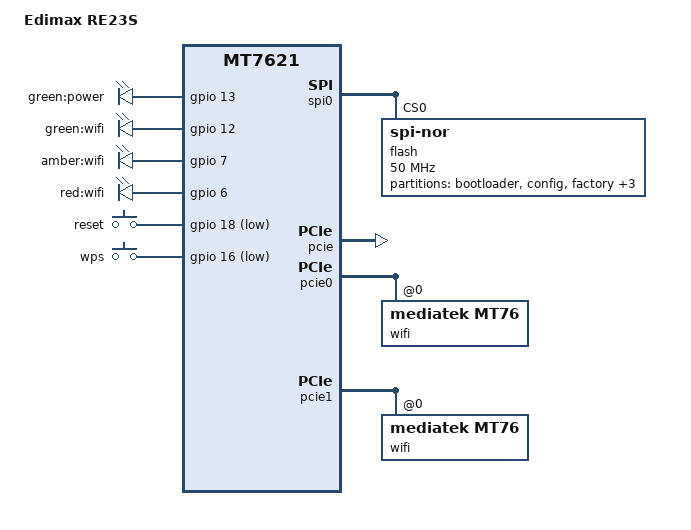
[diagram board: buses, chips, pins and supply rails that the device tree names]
// SPDX-License-Identifier: GPL-2.0-or-later OR MIT

#include "mt7621.dtsi"

#include <dt-bindings/gpio/gpio.h>
#include <dt-bindings/input/input.h>
#include <dt-bindings/mtd/partitions/uimage.h>

/ {
	compatible = "edimax,re23s", "mediatek,mt7621-soc";
	model = "Edimax RE23S";

	aliases {
		led-boot = &led_power;
		led-failsafe = &led_wifi_red;
		led-running = &led_power;
		led-upgrade = &led_power;
		label-mac-device = &gmac0;
	};

	leds {
		compatible = "gpio-leds";

		led_power: power {
			label = "green:power";
			gpios = <&gpio 13 GPIO_ACTIVE_HIGH>;
		};

		wifi_green {
			label = "green:wifi";
			gpios = <&gpio 12 GPIO_ACTIVE_HIGH>;
		};

		wifi_amber {
			label = "amber:wifi";
			gpios = <&gpio 7 GPIO_ACTIVE_HIGH>;
		};

		led_wifi_red: wifi_red {
			label = "red:wifi";
			gpios = <&gpio 6 GPIO_ACTIVE_HIGH>;
		};
	};

	keys {
		compatible = "gpio-keys";

		reset {
			label = "reset";
			gpios = <&gpio 18 GPIO_ACTIVE_LOW>;
			linux,code = <KEY_RESTART>;
		};

		wps {
			label = "wps";
			gpios = <&gpio 16 GPIO_ACTIVE_LOW>;
			linux,code = <KEY_WPS_BUTTON>;
		};
	};
};

&spi0 {
	status = "okay";

	flash@0 {
		compatible = "jedec,spi-nor";
		reg = <0>;
		spi-max-frequency = <50000000>;
		m25p,fast-read;

		partitions {
			compatible = "fixed-partitions";
			#address-cells = <1>;
			#size-cells = <1>;

			partition@0 {
				label = "bootloader";
				reg = <0x0 0x30000>;
				read-only;
			};

			partition@30000 {
				label = "config";
				reg = <0x30000 0x10000>;
				read-only;
			};

			factory: partition@40000 {
				label = "factory";
				reg = <0x40000 0x10000>;
				read-only;
			};

			partition@50000 {
				label = "cimage";
				reg = <0x50000 0x20000>;
				read-only;
			};

			partition@70000 {
				compatible = "openwrt,uimage", "denx,uimage";
				openwrt,offset = <FW_EDIMAX_OFFSET>;
				openwrt,partition-magic = <FW_MAGIC_EDIMAX>;
				label = "firmware";
				reg = <0x70000 0xf50000>;
			};

			partition@fc0000 {
				label = "freespace";
				reg = <0xfc0000 0x40000>;
				read-only;
			};
		};
	};
};

&pcie {
	status = "okay";
};

&pcie0 {
	wifi@0,0 {
		compatible = "mediatek,mt76";
		reg = <0x0000 0 0 0 0>;
		mediatek,mtd-eeprom = <&factory 0x0>;
		ieee80211-freq-limit = <2400000 2500000>;
	};
};

&pcie1 {
	wifi@0,0 {
		compatible = "mediatek,mt76";
		reg = <0x0000 0 0 0 0>;
		mediatek,mtd-eeprom = <&factory 0x8000>;
		ieee80211-freq-limit = <5000000 6000000>;
	};
};

&gmac0 {
	mtd-mac-address = <&factory 0x8004>;
};

&switch0 {
	ports {
		port@4 {
			status = "okay";
			label = "lan";
		};
	};
};

&state_default {
	gpio {
		groups = "uart3", "uart2", "jtag", "wdt";
		function = "gpio";
	};
};

&xhci {
	status = "disabled";
};
